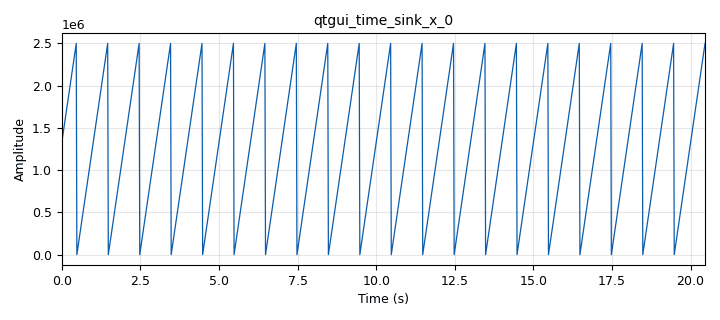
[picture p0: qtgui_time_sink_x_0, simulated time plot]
<?xml version='1.0' encoding='utf-8'?>
<?grc format='1' created='3.7.10'?>
<flow_graph>
<block>
<key>options</key>
<param><key>id</key><value>top_block</value></param>
<param><key>generate_options</key><value>qt_gui</value></param>
<param><key>run_options</key><value>run</value></param>
</block>
<block>
<key>variable_function_probe</key>
<param><key>id</key><value>f</value></param>
<param><key>block_id</key><value>freq</value></param>
<param><key>_enabled</key><value>0</value></param>
<param><key>function_name</key><value>level</value></param>
<param><key>value</key><value>0</value></param>
<param><key>poll_rate</key><value>10</value></param>
</block>
<block>
<key>variable</key>
<param><key>id</key><value>samp_rate</value></param>
<param><key>value</key><value>5e6</value></param>
</block>
<block>
<key>variable</key>
<param><key>id</key><value>vec_size</value></param>
<param><key>value</key><value>50</value></param>
</block>
<block>
<key>analog_noise_source_x</key>
<param><key>id</key><value>analog_noise_source_x_0</value></param>
<param><key>amp</key><value>1</value></param>
<param><key>_enabled</key><value>0</value></param>
<param><key>noise_type</key><value>analog.GR_GAUSSIAN</value></param>
<param><key>type</key><value>complex</value></param>
<param><key>seed</key><value>0</value></param>
</block>
<block>
<key>analog_sig_source_x</key>
<param><key>id</key><value>analog_sig_source_x_0</value></param>
<param><key>amp</key><value>1</value></param>
<param><key>_enabled</key><value>0</value></param>
<param><key>freq</key><value>int(f)</value></param>
<param><key>offset</key><value>0</value></param>
<param><key>type</key><value>complex</value></param>
<param><key>samp_rate</key><value>samp_rate</value></param>
<param><key>waveform</key><value>analog.GR_COS_WAVE</value></param>
</block>
<block>
<key>blocks_throttle</key>
<param><key>id</key><value>blocks_throttle_0</value></param>
<param><key>samples_per_second</key><value>vec_size</value></param>
<param><key>type</key><value>float</value></param>
</block>
<block>
<key>blocks_vector_source_x</key>
<param><key>id</key><value>blocks_vector_source_x_0</value></param>
<param><key>type</key><value>float</value></param>
<param><key>repeat</key><value>True</value></param>
<param><key>vector</key><value>np.linspace(0,samp_rate/2,vec_size)</value></param>
</block>
<block>
<key>fosphor_qt_sink_c</key>
<param><key>id</key><value>fosphor_qt_sink_c_0</value></param>
<param><key>freq_center</key><value>0</value></param>
<param><key>_enabled</key><value>0</value></param>
<param><key>freq_span</key><value>samp_rate</value></param>
</block>
<block>
<key>blocks_probe_signal_x</key>
<param><key>id</key><value>freq</value></param>
<param><key>_enabled</key><value>0</value></param>
<param><key>type</key><value>float</value></param>
</block>
<block>
<key>import</key>
<param><key>id</key><value>import_0</value></param>
<param><key>import</key><value>import numpy as np</value></param>
</block>
<block>
<key>osmosdr_sink</key>
<param><key>id</key><value>osmosdr_sink_0</value></param>
<param><key>bb_gain0</key><value>20</value></param>
<param><key>freq0</key><value>freq</value></param>
<param><key>if_gain0</key><value>20</value></param>
<param><key>gain0</key><value>10</value></param>
<param><key>args</key><value></value></param>
<param><key>_enabled</key><value>0</value></param>
<param><key>type</key><value>fc32</value></param>
<param><key>sample_rate</key><value>samp_rate</value></param>
<param><key>sync</key><value></value></param>
</block>
<block>
<key>qtgui_time_sink_x</key>
<param><key>id</key><value>qtgui_time_sink_x_0</value></param>
<param><key>autoscale</key><value>True</value></param>
<param><key>color1</key><value>"blue"</value></param>
<param><key>label1</key><value></value></param>
<param><key>size</key><value>1024</value></param>
<param><key>srate</key><value>50</value></param>
<param><key>type</key><value>float</value></param>
</block>
<connection><source_block_id>analog_noise_source_x_0</source_block_id><sink_block_id>osmosdr_sink_0</sink_block_id><source_key>0</source_key><sink_key>0</sink_key></connection>
<connection><source_block_id>analog_sig_source_x_0</source_block_id><sink_block_id>fosphor_qt_sink_c_0</sink_block_id><source_key>0</source_key><sink_key>0</sink_key></connection>
<connection><source_block_id>blocks_throttle_0</source_block_id><sink_block_id>freq</sink_block_id><source_key>0</source_key><sink_key>0</sink_key></connection>
<connection><source_block_id>blocks_throttle_0</source_block_id><sink_block_id>qtgui_time_sink_x_0</sink_block_id><source_key>0</source_key><sink_key>0</sink_key></connection>
<connection><source_block_id>blocks_vector_source_x_0</source_block_id><sink_block_id>blocks_throttle_0</sink_block_id><source_key>0</source_key><sink_key>0</sink_key></connection>
</flow_graph>
